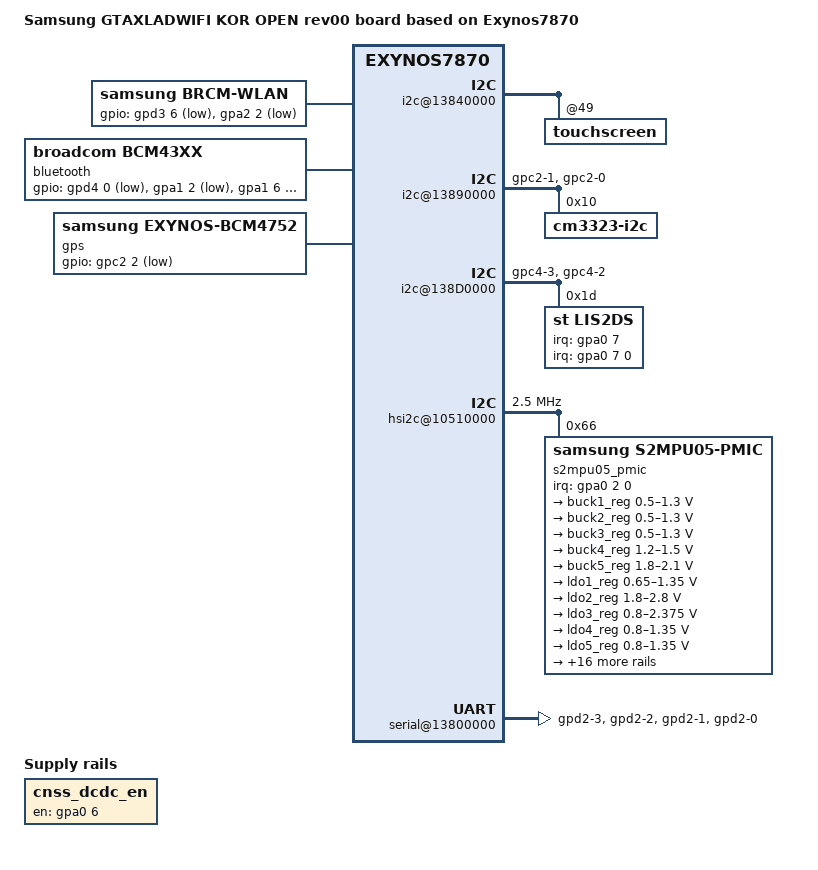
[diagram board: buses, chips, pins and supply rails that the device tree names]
/*
 * SAMSUNG UNIVERSAL8890 board device tree source
 *
 * Copyright (c) 2013 Samsung Electronics Co., Ltd.
 *		http://www.samsung.com
 *
 * This program is free software; you can redistribute it and/or modify
 * it under the terms of the GNU General Public License version 2 as
 * published by the Free Software Foundation.
 */

/dts-v1/;
#include "exynos7870-gtaxladwifi_common.dtsi"
#include "modem-ss315ap-pdata.dtsi"
#include "exynos7870-gtaxladwifi_kor_open_gpio_00.dtsi"
#include "exynos7870-gtaxladwifi_kor_open_battery_00.dtsi"

/ {
	model = "Samsung GTAXLADWIFI KOR OPEN rev00 board based on Exynos7870";
	model_info-chip = <7870>;
	model_info-platform = "android";
	model_info-subtype = "samsung";
	model_info-hw_rev = <0>;
	model_info-hw_rev_end = <0>;
	compatible = "samsung, GTAXLADWIFI KOR OPEN 00", "samsung,exynos7870";

	cnss_dcdc_en: cnss_dcdc_en {
		compatible = "regulator-fixed";
		regulator-name = "cnss_dcdc_en";
		startup-delay-us = <4000>;
		enable-active-high;
		gpio = <&gpa0 6 0>;
	};

	pinctrl@139C0000 {
		light_i2c: light_i2c {
			samsung,pins = "gpc2-1", "gpc2-0";
			samsung,pin-function = <2>;
			samsung,pin-pud = <0>;
		};
	};

	pinctrl@139B0000 {
		sensor_i2c: sensor_i2c {
			samsung,pins = "gpc4-3", "gpc4-2";
			samsung,pin-function = <2>;
			samsung,pin-pud = <0>;
		};
	};

	pinctrl@139F0000 {
		grip_wifi_int: grip_wifi_int {
			samsung,pins = "gpa0-5";
			samsung,pin-function = <0xF>;
			samsung,pin-pud = <0>;
			samsung,pin-drv = <0>;
		};

		acc_int: acc_int {
			samsung,pins = "gpa0-7";
			samsung,pin-function = <0xF>;
			samsung,pin-pud = <0>;
			samsung,pin-drv = <0>;
		};
	};

	i2c@13840000 {
		touchscreen@49 {
			stm,bringup = <2>;
		};
	};

	i2c@13890000{
		samsung,i2c-sda-delay = <100>;
		samsung,i2c-max-bus-freq = <400000>;
		status = "okay";
		#address-cells = <1>;
		#size-cells = <0>;
		pinctrl-names = "default";
		pinctrl-0 = <&light_i2c>;

		cm3323-i2c@10 {
			compatible = "cm3323-i2c";
			reg = <0x10>;
			/* cm3323-i2c,vdd-supply = <&ldo32_reg>; */
			/* cm3323-i2c,vdd-alwayson = <1>; */
			/* cm3323-i2c,vdd-ldo= <>; //use if vdd is connected with ldo or gpio */
		};
	};

	i2c@138D0000 {
		samsung,i2c-sda-delay = <100>;
		samsung,i2c-max-bus-freq = <400000>;
		status = "okay";
		#address-cells = <1>;
		#size-cells = <0>;
		pinctrl-names = "default";
		pinctrl-0 = <&sensor_i2c>;

		lis2ds@1D {
			compatible = "st,lis2ds";
			reg = <0x1D>;
			pinctrl-names = "default";
			pinctrl-0 = <&acc_int>;
			interrupt-parent = <&gpa0>;
			interrupts = <7 0 0>;
			st,orientation = <1 2 1 0 1 1 1 1 0>;
			st,drdy-int-pin = <1>;
			st,irq_gpio = <&gpa0 7 0x00>;
			st,vdd_ldo_pin = <&gpd1 6 0x01>; /* SENSOR_LDO_EN */
		};
	};

	hsi2c@10510000 {
		status = "okay";
		samsung,hs-mode;
		clock-frequency = <2500000>;
		samsung,hsi2c-batcher;
		#address-cells = <1>;
		#size-cells = <0>;

		s2mpu05_pmic@66 {
			compatible = "samsung,s2mpu05-pmic";
			reg = <0x66>;
			ten-bit-address;
			interrupts = <2 0 0>;
			interrupt-parent = <&gpa0>;
			pinctrl-names = "default";
			pinctrl-0 = <&pmic_irq &pm_wrsti>;
			g3d_en = <1>; /* 1 : enable , 0 : disable */
			buck2en_pin = "etc1-3";
			buck2en_addr = "139B0080.pinctrl";
			/* RTC: wtsr/smpl */
			wtsr_en = <1>; /* enable */
			smpl_en = <1>; /* enable */
			wtsr_timer_val = <3>;   /* 1000ms */
			smpl_timer_val = <0>;   /* 100ms */
			check_jigon = <1>; /* default is 0 but check jigon and disable smpl because of REV0.2 HW defect */
			/* RTC: If it's first boot, reset rtc to 1/1/2016 12:00:00(Fri) */
			init_time,sec = <0>;
			init_time,min = <0>;
			init_time,hour = <12>;
			init_time,mday = <1>;
			init_time,mon = <0>;
			init_time,year = <116>;
			init_time,wday = <5>;

			regulators {
				buck1_reg: BUCK1 {
					regulator-name = "BUCK1";
					regulator-min-microvolt = <500000>;
					regulator-max-microvolt = <1300000>;
					regulator-always-on;
					regulator-boot-on;
					regulator-ramp-delay = <12000>;
					regulator-initial-mode = <1>;
					regulator-expected-consumer = <2>;
				};

				buck2_reg: BUCK2 {
					regulator-name = "BUCK2";
					regulator-min-microvolt = <500000>;
					regulator-max-microvolt = <1300000>;
					regulator-always-on;
					regulator-boot-on;
					regulator-ramp-delay = <12000>;
					regulator-initial-mode = <2>;		/* MIF mode */
					regulator-expected-consumer = <4>;
				};

				buck3_reg: BUCK3 {
					regulator-name = "BUCK3";
					regulator-min-microvolt = <500000>;
					regulator-max-microvolt = <1300000>;
					regulator-always-on;
					regulator-boot-on;
					regulator-ramp-delay = <12000>;
					regulator-initial-mode = <2>;
				};

				buck4_reg: BUCK4 {
					regulator-name = "BUCK4";
					regulator-min-microvolt = <1200000>;
					regulator-max-microvolt = <1500000>;
					regulator-always-on;
					regulator-boot-on;
					regulator-ramp-delay = <12000>;
					regulator-initial-mode = <2>;
				};

				buck5_reg: BUCK5 {
					regulator-name = "BUCK5";
					regulator-min-microvolt = <1800000>;
					regulator-max-microvolt = <2100000>;
					regulator-always-on;
					regulator-boot-on;
					regulator-ramp-delay = <12000>;
					regulator-initial-mode = <2>;
				};

				ldo1_reg: LDO1 {
					regulator-name = "vdd_ldo1";
					regulator-min-microvolt = <650000>;
					regulator-max-microvolt = <1350000>;
					regulator-always-on;
					regulator-boot-on;
					regulator-ramp-delay = <12000>;
					regulator-initial-mode = <3>;
				};

				ldo2_reg: LDO2 {
					regulator-name = "vqmmc";
					regulator-min-microvolt = <1800000>;
					regulator-max-microvolt = <2800000>;
					regulator-ramp-delay = <12000>;
					regulator-initial-mode = <0>;
				};

				ldo3_reg: LDO3 {
					regulator-name = "vdd_ldo3";
					regulator-min-microvolt = <800000>;
					regulator-max-microvolt = <2375000>;
					regulator-boot-on;
					regulator-always-on;
					regulator-ramp-delay = <12000>;
					regulator-initial-mode = <3>;
				};

				ldo4_reg: LDO4 {
					regulator-name = "vdd_ldo4";
					regulator-min-microvolt = <800000>;
					regulator-max-microvolt = <1350000>;
					regulator-boot-on;
					regulator-always-on;
					regulator-ramp-delay = <12000>;
					regulator-initial-mode = <1>;
				};

				ldo5_reg: LDO5 {
					regulator-name = "vdd_ldo5";
					regulator-min-microvolt = <800000>;
					regulator-max-microvolt = <1350000>;
					regulator-boot-on;
					regulator-always-on;
					regulator-ramp-delay = <12000>;
					regulator-initial-mode = <3>;
				};

				ldo6_reg: LDO6 {
					regulator-name = "vdd_ldo6";
					regulator-min-microvolt = <800000>;
					regulator-max-microvolt = <1350000>;
					regulator-boot-on;
					regulator-always-on;
					regulator-ramp-delay = <12000>;
					regulator-initial-mode = <1>;
				};

				ldo7_reg: LDO7 {
					regulator-name = "vdd_ldo7";
					regulator-min-microvolt = <800000>;
					regulator-max-microvolt = <2375000>;
					regulator-boot-on;
					regulator-always-on;
					regulator-ramp-delay = <12000>;
					regulator-initial-mode = <1>;
				};

				ldo8_reg: LDO8 {
					regulator-name = "vdd_ldo8";
					regulator-min-microvolt = <1800000>;
					regulator-max-microvolt = <3375000>;
					regulator-boot-on;
					regulator-always-on;
					regulator-ramp-delay = <12000>;
					regulator-initial-mode = <1>;
				};

				ldo9_reg: LDO9 {
					regulator-name = "vdd_ldo9";
					regulator-min-microvolt = <650000>;
					regulator-max-microvolt = <1350000>;
					regulator-always-on;
					regulator-ramp-delay = <12000>;
					regulator-initial-mode = <1>;
				};

				ldo10_reg: LDO10 {
					regulator-name = "vdd_ldo10";
					regulator-min-microvolt = <650000>;
					regulator-max-microvolt = <1350000>;
					regulator-always-on;
					regulator-ramp-delay = <12000>;
					regulator-initial-mode = <1>;
				};

				ldo25_reg: LDO25 {
					regulator-name = "vdd_ldo25";
					regulator-min-microvolt = <800000>;
					regulator-max-microvolt = <2375000>;
					regulator-ramp-delay = <12000>;
					regulator-initial-mode = <1>;
				};

				ldo26_reg: LDO26 {
					regulator-name = "vemmc";
					regulator-min-microvolt = <1800000>;
					regulator-max-microvolt = <3375000>;
					regulator-boot-on;
					regulator-ramp-delay = <12000>;
					regulator-initial-mode = <3>;
				};

				ldo27_reg: LDO27 {
					regulator-name = "vqemmc";
					regulator-min-microvolt = <800000>;
					regulator-max-microvolt = <2375000>;
					regulator-boot-on;
					regulator-ramp-delay = <12000>;
					regulator-initial-mode = <3>;
				};

				ldo28_reg: LDO28 {
					regulator-name = "vdd_ldo28";
					regulator-min-microvolt = <3300000>;
					regulator-max-microvolt = <3300000>;
					regulator-ramp-delay = <12000>;
					regulator-initial-mode = <2>;
				};

				ldo29_reg: LDO29 {
					regulator-name = "VDD_GRIP_1P8_PM";
					regulator-min-microvolt = <1800000>;
					regulator-max-microvolt = <1800000>;
					regulator-always-on;
					regulator-ramp-delay = <12000>;
					regulator-initial-mode = <3>;
				};

				ldo30_reg: LDO30 {
					regulator-name = "LCD_1P8";
					regulator-min-microvolt = <1800000>;
					regulator-max-microvolt = <1800000>;
					regulator-initial-mode = <3>;
				};

				ldo31_reg: LDO31 {
					regulator-name = "tsp_avdd";
					regulator-min-microvolt = <3300000>;
					regulator-max-microvolt = <3300000>;
					regulator-boot-on;
				};

				ldo32_reg: LDO32 {
					regulator-name = "VDD_SENSOR_2P8";
					regulator-min-microvolt = <2800000>;
					regulator-max-microvolt = <2800000>;
					regulator-initial-mode = <3>;
				};

				ldo33_reg: LDO33 {
					regulator-name = "VDD_CAM_AF_2P8";
					regulator-min-microvolt = <2800000>;
					regulator-max-microvolt = <2800000>;
					regulator-initial-mode = <0>;
				};

				ldo34_reg: LDO34 {
					regulator-name = "tsp_io";
					regulator-min-microvolt = <1800000>;
					regulator-max-microvolt = <1800000>;
					regulator-boot-on;
				};

				ldo35_reg: LDO35 {
					regulator-name = "VDD_VTCAM_A2P8";
					regulator-min-microvolt = <2800000>;
					regulator-max-microvolt = <2800000>;
					regulator-initial-mode = <0>;
				};
			};
		};

	};

  wlan {
		compatible = "samsung,brcm-wlan";
		gpios = <&gpd3 6 0x1 /* WLAN_EN */
			&gpa2 2 0x1>; /* WLAN_HOST_WAKE */
		pinctrl-names = "default";
		pinctrl-0 = <&cfg_wlanen &cfg_wlanhostwake>;
		status = "okay";
	};

	pinctrl@13750000 {
		sd1_bus1: sd1-bus-width1 {
			samsung,pin-pud = <3>;
		};

		sd1_bus4: sd1-bus-width4 {
			samsung,pin-pud = <3>;
		};
	};

	bluetooth {
		compatible = "broadcom,bcm43xx";
		gpios = <&gpd4 0 0x1	/*BT_EN*/
			&gpa1 2 0x1	/*BT_WAKE*/
			&gpa1 6 0xF	/*BT_HOST_WAKE*/ >;
		pinctrl-names = "default";
		pinctrl-0=<&bt_hostwake_bcm &bt_btwake_bcm &bt_en_bcm>;
		status = "okay";
	};

	pinctrl@139B0000 {
		cfg_wlanen: cfg-wlanen  {       /* WLAN_EN */
			samsung,pins = "gpd3-6";
			samsung,pin-function = <1>;
			samsung,pin-pud = <0>;
			samsung,pin-drv = <3>;
			samsung,pin-con-pdn = <3>;
			samsung,pin-pud-pdn = <0>;
			samsung,pin-val = <0>;
		};
	};

	pinctrl@139F0000 {

		bt_btwake_bcm: bt-btwake {
			samsung,pins = "gpa1-2";
			samsung,pin-function = <1>;
			samsung,pin-pud = <0>;
			samsung,pin-con-pdn = <3>;
			samsung,pin-pud-pdn = <0>;
		};

		bt_hostwake_bcm: bt-hostwake {
			samsung,pins = "gpa1-6";
			samsung,pin-function = <0>;
			samsung,pin-pud = <0>;
			samsung,pin-con-pdn = <2>;
			samsung,pin-pud-pdn = <0>;
		};

		fmradio_irq: fmradio-irq {
			samsung,pins = "gpa2-4";
			samsung,pin-function = <0xf>;
			samsung,pin-pud = <0>;
			samsung,pin-drv = <0>;
		};
	};

	pinctrl@139B0000 {
		uart1_rts: uart1-rts {
			samsung,pins = "gpd2-3";
			samsung,pin-function = <2>;
			samsung,pin-pud = <1>;
			samsung,pin-con-pdn = <3>;
			samsung,pin-pud-pdn = <1>;
		};

		uart1_cts: uart1-cts {
			samsung,pins = "gpd2-2";
			samsung,pin-function = <2>;
			samsung,pin-pud = <1>;
			samsung,pin-con-pdn = <3>;
			samsung,pin-pud-pdn = <1>;
		};

		uart1_tx: uart1-tx {
			samsung,pins = "gpd2-1";
			samsung,pin-function = <2>;
			samsung,pin-pud = <3>;
			samsung,pin-con-pdn = <3>;
			samsung,pin-pud-pdn = <3>;
		};

		uart1_rx: uart1-rx {
			samsung,pins = "gpd2-0";
			samsung,pin-function = <2>;
			samsung,pin-pud = <3>;
			samsung,pin-con-pdn = <3>;
			samsung,pin-pud-pdn = <3>;
		};

		bt_en_bcm: bt-en {
			samsung,pins = "gpd4-0";
			samsung,pin-function = <1>;
			samsung,pin-pud = <0>;
			samsung,pin-con-pdn = <3>;
			samsung,pin-pud-pdn = <0>;
		};

	};

	serial@13800000 {
		status = "okay";
		pinctrl-names = "default";
		pinctrl-0 = <&uart1_rts &uart1_cts &uart1_tx &uart1_rx>;
	};

	gps {
		compatible = "samsung,exynos-bcm4752";
		gpios = <&gpc2 2 0x1 >; /* GPS_EN */
		status = "okay";
	};
};
